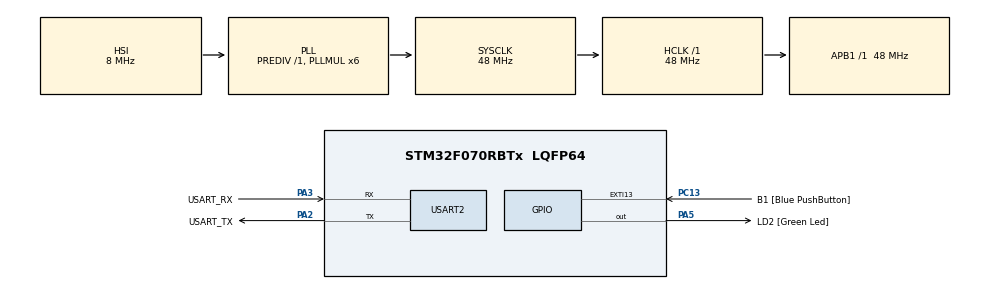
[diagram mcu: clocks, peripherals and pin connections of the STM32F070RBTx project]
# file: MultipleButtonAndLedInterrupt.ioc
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Mcu.Family=STM32F0
Mcu.Name=STM32F070RBTx
Mcu.Package=LQFP64
PA13.GPIO_Label=TMS
PA13.Mode=Serial_Wire
PA13.Signal=SYS_SWDIO
PA14.GPIO_Label=TCK
PA14.Mode=Serial_Wire
PA14.Signal=SYS_SWCLK
PA2.GPIO_Label=USART_TX
PA2.Mode=Asynchronous
PA2.Signal=USART2_TX
PA3.GPIO_Label=USART_RX
PA3.Mode=Asynchronous
PA3.Signal=USART2_RX
PA5.GPIO_Label=LD2 [Green Led]
PA5.Signal=GPIO_Output
PC13.GPIO_Label=B1 [Blue PushButton]
PC13.GPIO_ModeDefaultEXTI=GPIO_MODE_IT_FALLING
PC13.Signal=GPXTI13
PC14-OSC32_IN.GPIO_Label=RCC_OSC32_IN
PC14-OSC32_IN.Mode=LSE-External-Oscillator
PC14-OSC32_IN.Signal=RCC_OSC32_IN
PC15-OSC32_OUT.GPIO_Label=RCC_OSC32_OUT
PC15-OSC32_OUT.Mode=LSE-External-Oscillator
PC15-OSC32_OUT.Signal=RCC_OSC32_OUT
PF0-OSC_IN.GPIO_Label=RCC_OSC_IN
PF0-OSC_IN.Mode=HSE-External-Clock-Source
PF0-OSC_IN.Signal=RCC_OSC_IN
PF1-OSC_OUT.GPIO_Label=RCC_OSC_OUT
PF1-OSC_OUT.Signal=RCC_OSC_OUT
ProjectManager.HeapSize=0x200
ProjectManager.StackSize=0x400
ProjectManager.TargetToolchain=STM32CubeIDE
RCC.AHBFreq_Value=48000000
RCC.APB1Freq_Value=48000000
RCC.APB1TimFreq_Value=48000000
RCC.HCLKFreq_Value=48000000
RCC.PLLMUL=RCC_PLL_MUL6
RCC.SYSCLKFreq_VALUE=48000000
RCC.SYSCLKSource=RCC_SYSCLKSOURCE_PLLCLK
USART2.VirtualMode-Asynchronous=VM_ASYNC
board=NUCLEO-F070RB

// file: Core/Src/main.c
/* USER CODE BEGIN Header */
/**
  ******************************************************************************
  * @file           : main.c
  * @brief          : Main program body
  ******************************************************************************
  * @attention
  *
  * <h2><center>&copy; Copyright (c) 2021 STMicroelectronics.
  * All rights reserved.</center></h2>
  *
  * This software component is licensed by ST under BSD 3-Clause license,
  * the "License"; You may not use this file except in compliance with the
  * License. You may obtain a copy of the License at:
  *                        opensource.org/licenses/BSD-3-Clause
  *
  ******************************************************************************
  */
/* USER CODE END Header */
#include "main.h"

UART_HandleTypeDef huart2;

void SystemClock_Config(void);
static void MX_GPIO_Init(void);
static void MX_USART2_UART_Init(void);
/* USER CODE BEGIN PFP */
void GPIO_Config(){
	RCC->AHBENR |= 0x40000;	// GPIOB active

	GPIOB->MODER |= 0x50000; // 8. pin and 9. pin active as a output
	GPIOB->OTYPER |= 0;
	GPIOB->OSPEEDR |= 0xF0000;
	GPIOB->PUPDR |= 0;
}

void EXTI_Config(){
	__HAL_RCC_SYSCFG_CLK_ENABLE();

	NVIC_EnableIRQ(EXTI2_3_IRQn); // button 1 exti enable
	NVIC_SetPriority(EXTI2_3_IRQn,6);

	NVIC_EnableIRQ(EXTI4_15_IRQn); // button 2 exti enable
	NVIC_SetPriority(EXTI4_15_IRQn,7);

	SYSCFG->EXTICR[0] = 0x1000; // exti 3 enable for PB pin
	SYSCFG->EXTICR[1] = 0x10; // exti 5 enable for PB pin

	EXTI->IMR = 0x28;
	EXTI->RTSR = 0x28;
}
/* USER CODE END PFP */

/* USER CODE BEGIN 0 */
void EXTI2_3_IRQHandler(){
	if(EXTI->PR & 0x8){
		GPIOB->ODR = 0x100;
		HAL_Delay(5000);
		GPIOB->ODR = 0;
		HAL_Delay(1000);

		EXTI->PR = 0x8;
	}
}

void EXTI4_15_IRQHandler(){
	if(EXTI->PR & 0x20){
		GPIOB->ODR = 0x200;
		HAL_Delay(5000);
		GPIOB->ODR = 0;
		HAL_Delay(1000);

		EXTI->PR = 0x20;
	}
}
/* USER CODE END 0 */

int main(void)
{

  /* MCU Configuration--------------------------------------------------------*/

  /* Reset of all peripherals, Initializes the Flash interface and the Systick. */
  HAL_Init();

  /* Configure the system clock */
  SystemClock_Config();

  /* Initialize all configured peripherals */
  MX_GPIO_Init();
  MX_USART2_UART_Init();
  /* USER CODE BEGIN 2 */
  GPIO_Config();
  EXTI_Config();
  /* USER CODE END 2 */

  /* Infinite loop */
  /* USER CODE BEGIN WHILE */
  while (1)
  {
	  GPIOB->ODR = 0;
	  HAL_Delay(1000);
	  GPIOB->ODR = 0x300;
	  HAL_Delay(1000);
    /* USER CODE END WHILE */

  }
}

void SystemClock_Config(void)
{
  RCC_OscInitTypeDef RCC_OscInitStruct = {0};
  RCC_ClkInitTypeDef RCC_ClkInitStruct = {0};

  /** Initializes the RCC Oscillators according to the specified parameters
  * in the RCC_OscInitTypeDef structure.
  */
  RCC_OscInitStruct.OscillatorType = RCC_OSCILLATORTYPE_HSI;
  RCC_OscInitStruct.HSIState = RCC_HSI_ON;
  RCC_OscInitStruct.HSICalibrationValue = RCC_HSICALIBRATION_DEFAULT;
  RCC_OscInitStruct.PLL.PLLState = RCC_PLL_ON;
  RCC_OscInitStruct.PLL.PLLSource = RCC_PLLSOURCE_HSI;
  RCC_OscInitStruct.PLL.PLLMUL = RCC_PLL_MUL6;
  RCC_OscInitStruct.PLL.PREDIV = RCC_PREDIV_DIV1;
  if (HAL_RCC_OscConfig(&RCC_OscInitStruct) != HAL_OK)
  {
    Error_Handler();
  }
  /** Initializes the CPU, AHB and APB buses clocks
  */
  RCC_ClkInitStruct.ClockType = RCC_CLOCKTYPE_HCLK|RCC_CLOCKTYPE_SYSCLK
                              |RCC_CLOCKTYPE_PCLK1;
  RCC_ClkInitStruct.SYSCLKSource = RCC_SYSCLKSOURCE_PLLCLK;
  RCC_ClkInitStruct.AHBCLKDivider = RCC_SYSCLK_DIV1;
  RCC_ClkInitStruct.APB1CLKDivider = RCC_HCLK_DIV1;

  if (HAL_RCC_ClockConfig(&RCC_ClkInitStruct, FLASH_LATENCY_1) != HAL_OK)
  {
    Error_Handler();
  }
}

static void MX_USART2_UART_Init(void)
{

  huart2.Instance = USART2;
  huart2.Init.BaudRate = 38400;
  huart2.Init.WordLength = UART_WORDLENGTH_8B;
  huart2.Init.StopBits = UART_STOPBITS_1;
  huart2.Init.Parity = UART_PARITY_NONE;
  huart2.Init.Mode = UART_MODE_TX_RX;
  huart2.Init.HwFlowCtl = UART_HWCONTROL_NONE;
  huart2.Init.OverSampling = UART_OVERSAMPLING_16;
  huart2.Init.OneBitSampling = UART_ONE_BIT_SAMPLE_DISABLE;
  huart2.AdvancedInit.AdvFeatureInit = UART_ADVFEATURE_NO_INIT;
  if (HAL_UART_Init(&huart2) != HAL_OK)
  {
    Error_Handler();
  }

}

static void MX_GPIO_Init(void)
{
  GPIO_InitTypeDef GPIO_InitStruct = {0};

  /* GPIO Ports Clock Enable */
  __HAL_RCC_GPIOC_CLK_ENABLE();
  __HAL_RCC_GPIOF_CLK_ENABLE();
  __HAL_RCC_GPIOA_CLK_ENABLE();

  /*Configure GPIO pin Output Level */
  HAL_GPIO_WritePin(LD2_GPIO_Port, LD2_Pin, GPIO_PIN_RESET);

  /*Configure GPIO pin : B1_Pin */
  GPIO_InitStruct.Pin = B1_Pin;
  GPIO_InitStruct.Mode = GPIO_MODE_IT_FALLING;
  GPIO_InitStruct.Pull = GPIO_NOPULL;
  HAL_GPIO_Init(B1_GPIO_Port, &GPIO_InitStruct);

  /*Configure GPIO pin : LD2_Pin */
  GPIO_InitStruct.Pin = LD2_Pin;
  GPIO_InitStruct.Mode = GPIO_MODE_OUTPUT_PP;
  GPIO_InitStruct.Pull = GPIO_NOPULL;
  GPIO_InitStruct.Speed = GPIO_SPEED_FREQ_LOW;
  HAL_GPIO_Init(LD2_GPIO_Port, &GPIO_InitStruct);

}

void Error_Handler(void)
{
  __disable_irq();
  while (1)
  {
  }
}

/************************ (C) COPYRIGHT STMicroelectronics *****END OF FILE****/
